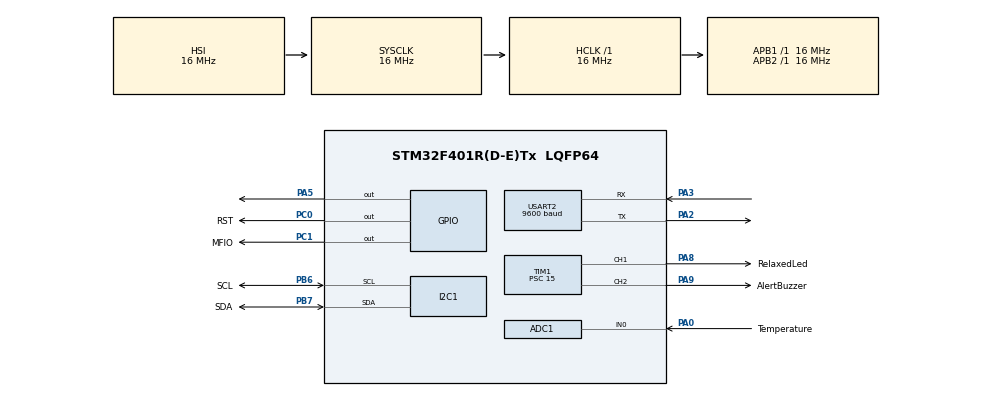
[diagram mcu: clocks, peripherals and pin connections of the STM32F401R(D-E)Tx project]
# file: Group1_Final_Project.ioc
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ADC1.Channel-0\#ChannelRegularConversion=ADC_CHANNEL_0
ADC1.ContinuousConvMode=ENABLE
ADC1.EOCSelection=ADC_EOC_SEQ_CONV
ADC1.NbrOfConversion=1
ADC1.NbrOfConversionFlag=1
ADC1.Rank-0\#ChannelRegularConversion=1
ADC1.SamplingTime-0\#ChannelRegularConversion=ADC_SAMPLETIME_3CYCLES
ADC1.master=1
Mcu.Family=STM32F4
Mcu.Name=STM32F401R(D-E)Tx
Mcu.Package=LQFP64
NVIC.PriorityGroup=NVIC_PRIORITYGROUP_4
NVIC.TIM1_TRG_COM_TIM11_IRQn=true\:0\:0\:false\:false\:true\:true\:true\:true
NVIC.TIM1_UP_TIM10_IRQn=true\:0\:0\:false\:false\:true\:true\:true\:true
NVIC.USART2_IRQn=true\:1\:0\:true\:false\:true\:true\:true\:true
PA0-WKUP.GPIO_Label=Temperature
PA0-WKUP.Signal=ADCx_IN0
PA2.Mode=Asynchronous
PA2.Signal=USART2_TX
PA3.Mode=Asynchronous
PA3.Signal=USART2_RX
PA5.Signal=GPIO_Output
PA8.GPIO_Label=RelaxedLed
PA8.Signal=S_TIM1_CH1
PA9.GPIO_Label=AlertBuzzer
PA9.Signal=S_TIM1_CH2
PB6.GPIO_Label=SCL
PB6.Mode=I2C
PB6.Signal=I2C1_SCL
PB7.GPIO_Label=SDA
PB7.Mode=I2C
PB7.Signal=I2C1_SDA
PC0.GPIO_Label=RST
PC0.Signal=GPIO_Output
PC1.GPIO_Label=MFIO
PC1.Signal=GPIO_Output
ProjectManager.HeapSize=0x200
ProjectManager.StackSize=0x400
ProjectManager.TargetToolchain=STM32CubeIDE
RCC.48MHZClocksFreq_Value=48000000
RCC.AHBFreq_Value=16000000
RCC.APB1Freq_Value=16000000
RCC.APB1TimFreq_Value=16000000
RCC.APB2Freq_Value=16000000
RCC.APB2TimFreq_Value=16000000
RCC.CortexFreq_Value=16000000
RCC.HCLKFreq_Value=16000000
RCC.HSE_VALUE=8000000
RCC.HSI_VALUE=16000000
RCC.LSE_VALUE=32768
RCC.PLLN=336
RCC.PLLP=RCC_PLLP_DIV4
RCC.PLLQ=7
RCC.SYSCLKFreq_VALUE=16000000
RCC.VCOOutputFreq_Value=336000000
SH.ADCx_IN0.0=ADC1_IN0,IN0
SH.S_TIM1_CH1.0=TIM1_CH1,PWM Generation1 CH1
SH.S_TIM1_CH2.0=TIM1_CH2,PWM Generation2 CH2
TIM1.Channel-PWM\ Generation1\ CH1=TIM_CHANNEL_1
TIM1.Channel-PWM\ Generation2\ CH2=TIM_CHANNEL_2
TIM1.Period=4999
TIM1.Prescaler=15
TIM10.Period=9999
TIM10.Prescaler=1599
TIM11.Period=7999
TIM11.Prescaler=1
USART2.BaudRate=9600
USART2.VirtualMode=VM_ASYNC
VP_TIM10_VS_ClockSourceINT.Mode=Enable_Timer
VP_TIM11_VS_ClockSourceINT.Mode=Enable_Timer
board=NUCLEO-F401RE

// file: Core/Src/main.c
/* USER CODE BEGIN Header */
/**
 ******************************************************************************
 * @file           : main.c
 * @brief          : Main program body
 ******************************************************************************
 * @attention
 *
 * Copyright (c) 2023 STMicroelectronics.
 * All rights reserved.
 *
 * This software is licensed under terms that can be found in the LICENSE file
 * in the root directory of this software component.
 * If no LICENSE file comes with this software, it is provided AS-IS.
 *
 ******************************************************************************
 */
/* USER CODE END Header */
#include "main.h"
#include "adc.h"
#include "i2c.h"
#include "tim.h"
#include "usart.h"
#include "gpio.h"

/* USER CODE BEGIN Includes */
#include "string.h"
#include "KY028.h"
#include "action.h"
#include "MAX32664.h"
#include "ssd1306.h"
#include "ds1307rtc.h"
#include "stdio.h"
/* USER CODE END Includes */

/* USER CODE BEGIN PTD */

/*
 * This function return the Pointer to the Flag structure.
 * This function create a static pointer only once.
 */
Flag* getFlag(void){
	static Flag flag;
	return &flag;
}

/*
 * This function return the Pointer to the Measure structure.
 * This function create a static pointer only once.
 */
Measure* getMeasure(void){
	static Measure measure;
	return &measure;
}

/*
 * This function return the Pointer to the Disease structure.
 * This function create a static pointer only once.
 */
Disease* getDisease(void){
	static Disease diseases;
	return &diseases;
}

/*
 * Flag init function
 */
void FLAG_Init(void){
	Flag* flags = getFlag();
	flags->highHeartRateFlag = 0;
	flags->highTemperatureFlag = 0;
	flags->lowOxygenFlag = 0;
	flags->dangerShowing = 0;
	flags->inhalation = 0;
	flags->exhalation = 0;
}

void DISEASE_Init(void){
	Disease* diseases = getDisease();
	diseases->arrhythmia = false;
	diseases->covid = false;
	diseases->fever = false;
	diseases->highFever = false;
	diseases->highestFever = false;
	diseases->hypoxemia = false;
	diseases->tachycardia = false;
}

/*
 * Measure init function
 */
void MEASURE_Init(void){
	Measure* measure = getMeasure();
	measure->averageValueHeartRate = 0;
	measure->averageValueOxygen = 0;
	measure->averageValueTemp = 0;
	measure->badValueHeartRate = 0;
	measure->badValueOxygen = 0;
	measure->badValueTemp = 0;
	measure->countTot = 0;
	measure->countDangerShowing = 0;
	measure->goodHeartRate = 0;
	measure->goodOxygen = 0;
	measure->goodTemp = 0;
	measure->ledCounter = 0;
	measure->repetition = 0;
	measure->sumHeartRate = 0;
	measure->sumOxygen = 0;
	measure->sumTemp = 0;
}

/*
 * Reset temporary values of the Measure structure
 */
void resetValue(void){
	Measure* measure = getMeasure();
	measure->sumHeartRate = 0;
	measure->sumOxygen = 0;
	measure->sumTemp = 0;
	measure->goodHeartRate = 0;
	measure->goodOxygen = 0;
	measure->goodTemp = 0;
}

/*
 * Reset average values of the Measure structure
 */
void resetAvgValue(void){
	Measure* measure = getMeasure();
	measure->averageValueHeartRate = 0;
	measure->averageValueOxygen = 0;
	measure->averageValueTemp = 0;
}

/* USER CODE END PTD */

/* USER CODE BEGIN PM */
//
/* USER CODE END PM */

void SystemClock_Config(void);

int main(void)
{

  /* MCU Configuration--------------------------------------------------------*/

  /* Reset of all peripherals, Initializes the Flash interface and the Systick. */
  HAL_Init();

  /* Configure the system clock */
  SystemClock_Config();

  /* Initialize all configured peripherals */
  MX_GPIO_Init();
  MX_I2C1_Init();
  MX_TIM1_Init();
  MX_USART2_UART_Init();
  MX_ADC1_Init();
  MX_TIM10_Init();
  MX_TIM11_Init();
  /* USER CODE BEGIN 2 */

  // INIZIO

  // Init and Active the Oled_SSD1306
  ssd1306_Init();
  showWelcome();

  HAL_TIM_Base_Start_IT(&htim10);  	// Inizializzazione TIM BASE 10
  HAL_ADC_Start(&hadc1);			// Inizializzazione ADC

  // Init MAX32664
  MAX32664* max = getSensor();

  char mess[] = "PULSE !OK\n\r";
  char mess2[] = "PULSE OK\n\r";

  HAL_UART_Transmit(&huart2, mess, strlen(mess), HAL_MAX_DELAY);

  if(begin(max, &hi2c1, GPIOC, GPIOC, GPIO_PIN_0, GPIO_PIN_1) != OK || config_sensor(max, MODE_ONE) != OK){
	  HAL_GPIO_WritePin(GPIOA, GPIO_PIN_5, 0);
	  HAL_UART_Transmit(&huart2, mess, strlen(mess), HAL_MAX_DELAY);
  }
  HAL_GPIO_WritePin(GPIOA, GPIO_PIN_5, 1);
  HAL_UART_Transmit(&huart2, mess2, strlen(mess2), HAL_MAX_DELAY);

  //Init Measure, Flag and Disease Structures
  FLAG_Init();
  MEASURE_Init();
  DISEASE_Init();

  // Init and Start DS1307RTC
  ds1307rtc_init();
  ds1307rtc_start();

  // Define the ADC conversion in PollingMode
  HAL_ADC_PollForConversion(&hadc1, HAL_MAX_DELAY);

  /* USER CODE END 2 */

  /* Infinite loop */
	while (1)
	{

	}
}

void SystemClock_Config(void)
{
  RCC_OscInitTypeDef RCC_OscInitStruct = {0};
  RCC_ClkInitTypeDef RCC_ClkInitStruct = {0};

  /** Configure the main internal regulator output voltage
  */
  __HAL_RCC_PWR_CLK_ENABLE();
  __HAL_PWR_VOLTAGESCALING_CONFIG(PWR_REGULATOR_VOLTAGE_SCALE2);

  /** Initializes the RCC Oscillators according to the specified parameters
  * in the RCC_OscInitTypeDef structure.
  */
  RCC_OscInitStruct.OscillatorType = RCC_OSCILLATORTYPE_HSI;
  RCC_OscInitStruct.HSIState = RCC_HSI_ON;
  RCC_OscInitStruct.HSICalibrationValue = RCC_HSICALIBRATION_DEFAULT;
  RCC_OscInitStruct.PLL.PLLState = RCC_PLL_NONE;
  if (HAL_RCC_OscConfig(&RCC_OscInitStruct) != HAL_OK)
  {
    Error_Handler();
  }

  /** Initializes the CPU, AHB and APB buses clocks
  */
  RCC_ClkInitStruct.ClockType = RCC_CLOCKTYPE_HCLK|RCC_CLOCKTYPE_SYSCLK
                              |RCC_CLOCKTYPE_PCLK1|RCC_CLOCKTYPE_PCLK2;
  RCC_ClkInitStruct.SYSCLKSource = RCC_SYSCLKSOURCE_HSI;
  RCC_ClkInitStruct.AHBCLKDivider = RCC_SYSCLK_DIV1;
  RCC_ClkInitStruct.APB1CLKDivider = RCC_HCLK_DIV1;
  RCC_ClkInitStruct.APB2CLKDivider = RCC_HCLK_DIV1;

  if (HAL_RCC_ClockConfig(&RCC_ClkInitStruct, FLASH_LATENCY_0) != HAL_OK)
  {
    Error_Handler();
  }
}

/* USER CODE BEGIN 4 */
/*
 * Callback of the timer.
 * In this callback I check that my interrupt is generated by the TIM10
 * I take into account each measure done for the complete measure.
 */

void HAL_TIM_PeriodElapsedCallback(TIM_HandleTypeDef *htim){

	// Basic Timer 10 is the timer that allow the new measurement
	if (htim->Instance == TIM10){

		Flag* flags = getFlag();
		Measure* measure = getMeasure();
		Disease* diseases = getDisease();
		MAX32664* max = getSensor();
		DateTime datetime;

		float temperature;
		uint32_t previousValueTemp, previousValueHeartRate, previousValueOxygen;

		char valueTmp[20], valueHeart[20], valueOxygen[20];

		measure->countTot += 1;

		// Put the value of temperature in this variable, from the function 'getTemperature'
		temperature = getTemperature();
		// I check that the value of temperature is between a min value and a max value
		// to don't take into account the out-of-bounds value for the mean.
		if ((temperature< highConfTemp) && (temperature >lowConfTemp)){
			measure->sumTemp += temperature;
			measure->goodTemp++;
		}

		// Read value of MAX32664
		read_sensor(max);

		uint32_t heartRate = max->heart_rate;
		uint32_t oxygen = max->oxygen;
		uint32_t confidence_heart_rate = max->confidence_heart_rate;

		// Check that the value of heart rate is acceptable
		if ((heartRate < highConfHeartRate) && (heartRate > lowConfHeartRate) && (confidence_heart_rate > acceptableConfidenceHeartRate)){
			measure->sumHeartRate += heartRate;
			measure->goodHeartRate++;
		}
		// Check that the value of oxygen is acceptable
		if ((oxygen < highConfOxygen) && (oxygen > lowConfOxygen)){
			measure->sumOxygen += oxygen;
			measure->goodOxygen++;
		}

		// SEE THE VALUE IN REAL TIME

		sprintf(valueTmp, "Temperatura: %.2f\n\r", temperature);
		HAL_UART_Transmit(&huart2,valueTmp , strlen(valueTmp), HAL_MAX_DELAY);

		sprintf(valueHeart, "HeartRate: %d\n\r", heartRate);
		HAL_UART_Transmit(&huart2,valueHeart , strlen(valueHeart), HAL_MAX_DELAY);

		sprintf(valueOxygen, "Oxygen: %d\n\r", oxygen);
		HAL_UART_Transmit(&huart2,valueOxygen , strlen(valueOxygen), HAL_MAX_DELAY);

		sprintf(valueTmp, "COUNT: %d\r\n", measure->countTot);
		HAL_UART_Transmit(&huart2, valueTmp, strlen(valueTmp), HAL_MAX_DELAY);

		// I show the measure on the screen only when I reach the 'goodMeasureTime'
		if (measure->countTot >= goodMeasureTime){

			char str[] = "Nuova misura disponibile\r\n";
			HAL_UART_Transmit(&huart2, str, strlen(str), HAL_MAX_DELAY);

			// Check that the measures of temperature are enough
			if (measure->goodTemp >= goodNumberMeasure){

				measure->badValueTemp = 0;

				previousValueTemp = measure->averageValueTemp;

				computeAverageTemp();

				// If my average value is over the threshold, set the flag = true
				flags->highTemperatureFlag = (measure->averageValueTemp < highTemperature) ? false : true;

			}else{
				// If the measures is not enough, increment the counter for error measure and reset the average value
				measure->badValueTemp++;
				measure->averageValueTemp = 0;     // In this way on my screen I will show that the measure is wrong
				flags->highTemperatureFlag = false;
			}

			// Check that the measures of heart rate are enough
			if (measure->goodHeartRate >= goodNumberMeasure){

				measure->badValueHeartRate = 0;

				previousValueHeartRate = measure->averageValueHeartRate;

				computeAverageHeartRate();

				// If my average value is over the threshold, set the flag = true
				flags->highHeartRateFlag = (measure->averageValueHeartRate < highHeartRate) ? false : true;

			}else{
				// If the measures is not enough, increment the counter for error measure and reset the average value
				measure->badValueHeartRate++;
				measure->averageValueHeartRate = 0;			// In this way on my screen I will show that the measure is wrong
				flags->highHeartRateFlag = false;
			}

			// Check that the measures of oxygen are enough
			if (measure->goodOxygen >= goodNumberMeasure){

				measure->badValueOxygen = 0;

				previousValueOxygen = measure->averageValueOxygen;

				computeAverageOxygen();

				// If my average value is over the threshold, set the flag = true
				flags->lowOxygenFlag = (measure->averageValueOxygen < lowOxygen) ? true : false;

			}else{
				// If the measures is not enough, increment the counter for error measure and reset the average value
				measure->badValueOxygen++;
				measure->averageValueOxygen = 0;		// In this way on my screen I will show that the measure is wrong
				flags->lowOxygenFlag = false;
			}

			resetValue();		// This line is important because for each measurement we initialize the value to compute the averages
		}

		// I check that the count: 'badValue' for all measure (temperature, heart_rate and oxygen) is enough to show the error finger position
		if (((measure->badValueHeartRate >= countFail) || (measure->badValueOxygen >= countFail)) && (measure->countTot >= goodMeasureTime)){
			showReplaceFinger();
			resetAvgValue();		// This line is important because I must reset the avg value, otherwise I would still have these value
			measure->countTot = 0;	// This line is important because I must set to 0 the counter else if I'm in this state,
			//I will have a loop because compute always the avg values but I have only one value.

		}else if(measure->countTot >= goodMeasureTime){
			// If the values are good I can show the averages value and I must check which flags are active
			measure->countTot = 0;
			// 0-0-0
			if (!flags->highTemperatureFlag && !flags->highHeartRateFlag && !flags->lowOxygenFlag){
				// TUTTO BENE
				showTerminalTime(datetime);
				showMeasures();
			}
			// 0-0-1
			if (!flags->highTemperatureFlag && !flags->highHeartRateFlag && flags->lowOxygenFlag){
				// IPOSSIEMIA
				// check that isn't a first time
				if(previousValueOxygen < lowOxygen && previousValueOxygen > lowConfOxygen){ // if isn't a first time, I don't show the danger screen
					showTerminalTime(datetime);
					showMeasures();
				}else{
					// show the danger screen (IPOSSIEMIA)
					flags->dangerShowing = true;
					diseases->hypoxemia = true;
					showDangerHypoxemia();
					HAL_TIM_Base_Stop_IT(&htim10);
					HAL_TIM_Base_Start_IT(&htim11);
				}

			}

			// 0-1-0
			if (!flags->highTemperatureFlag && flags->highHeartRateFlag && !flags->lowOxygenFlag){
				// TACHICARDIA
				// check that isn't a first time
				if(previousValueHeartRate > highHeartRate){ // if isn't a first time, I don't show the danger screen
					showTerminalTime(datetime);
					showMeasures();
				}else{
					// show the danger screen (TACHICARDIA)
					flags->dangerShowing = true;
					diseases->tachycardia = true;
					showDangerTachycardia();
					HAL_TIM_Base_Stop_IT(&htim10);
					HAL_TIM_Base_Start_IT(&htim11);
				}
			}

			// 0-1-1
			if (!flags->highTemperatureFlag && flags->highHeartRateFlag && flags->lowOxygenFlag){
				// ARITMIA
				// check that isn't a first time
				if ((previousValueHeartRate > highHeartRate) && (previousValueOxygen < lowOxygen)){  // if isn't a first time, I don't show the danger screen
					showTerminalTime(datetime);
					showMeasures();

				}
				else{
					// show the danger screen (ARITMIA)
					flags->dangerShowing = true;
					diseases->arrhythmia = true;
					showDangerArrhythmia();
					HAL_TIM_Base_Stop_IT(&htim10);
					HAL_TIM_Base_Start_IT(&htim11);
				}
			}

			// 1-0-0
			if (flags->highTemperatureFlag && !flags->highHeartRateFlag && !flags->lowOxygenFlag){
				// FEBBRE
				// check that isn't a first time
				if(previousValueTemp > highTemperature){   // if isn't a first time, I don't show the danger screen
					showTerminalTime(datetime);
					showMeasures();

				}else{
					// show the danger screen (FEBBRE)
					flags->dangerShowing = true;
					diseases->fever = true;
					showDangerFever();
					HAL_TIM_Base_Stop_IT(&htim10);
					HAL_TIM_Base_Start_IT(&htim11);
				}
			}

			// 1-0-1
			if (flags->highTemperatureFlag && !flags->highHeartRateFlag && flags->lowOxygenFlag){
				// COVID
				// check that isn't a first time
				if ((previousValueTemp > highTemperature) && (previousValueOxygen < lowOxygen)){	// if isn't a first time, I don't show the danger screen
					showTerminalTime(datetime);
					showMeasures();

				}
				else{
					// show the danger screen (COVID)
					flags->dangerShowing = true;
					diseases->covid = true;
					showDangerCovid();
					HAL_TIM_Base_Stop_IT(&htim10);
					HAL_TIM_Base_Start_IT(&htim11);
				}

			}
			// 1-1-0
			if (flags->highTemperatureFlag && flags->highHeartRateFlag && !flags->lowOxygenFlag){
				// FEBBRE ALTA
				// check that isn't a first time
				if ((previousValueTemp > highTemperature) && (previousValueHeartRate > highHeartRate)){		// if isn't a first time, I don't show the danger screen
					showTerminalTime(datetime);
					showMeasures();

				}
				else{
					// show the danger screen (FEBBRE ALTA)
					flags->dangerShowing = true;
					diseases->highFever = true;
					showDangerHighFever();
					HAL_TIM_Base_Stop_IT(&htim10);
					HAL_TIM_Base_Start_IT(&htim11);
				}

			}
			// 1-1-1
			if (flags->highTemperatureFlag && flags->highHeartRateFlag && flags->lowOxygenFlag){
				// FEBBRE MOLTO ALTA
				// check that isn't a first time
				if ((previousValueTemp > highTemperature) && (previousValueHeartRate > highHeartRate) && (previousValueOxygen < lowOxygen)){	// if isn't a first time, I don't show the danger screen
					showTerminalTime(datetime);
					showMeasures();

				}
				else{
					// show the danger screen (FEBBRE MOLTO ALTA)
					flags->dangerShowing = true;
					diseases->highestFever = true;
					showDangerHighestFever();
					HAL_TIM_Base_Stop_IT(&htim10);
					HAL_TIM_Base_Start_IT(&htim11);
				}
			}

		}

	}

	// TIM11  -> 1ms
	if (htim->Instance == TIM11){

		// in 5 secondi devo respirare, poi aspetto 1 secondo ed infine altri 5 secondi espiro, ed aspetto 1 secondo per riiniziare. Il tutto viene fatto 5 volte.
		// PWM del TIM1 ha un period di 1000. Quindi devo raggiungere un pulse di 1000 alla fine dei 5 secondi.
		// Aumento di 0.2 il pulse ogni millisecondo.

		Measure* measures = getMeasure();
		Flag* flags = getFlag();
		Disease* diseases = getDisease();

		HAL_TIM_OC_Start(&htim1, TIM_CHANNEL_2);  // START PWM canale 2 BUZZER

		if (flags->dangerShowing){
			if (measures->countDangerShowing <= showDangerDuration){
				if (measures->countDangerShowing == (showDangerDuration/2))
					showWhichAction();

				__HAL_TIM_SET_COMPARE(&htim1, TIM_CHANNEL_2, buzzerMelody);
				measures->countDangerShowing++;

			}else{
				flags->dangerShowing = false;
				measures->countDangerShowing = 0;
				__HAL_TIM_SET_COMPARE(&htim1, TIM_CHANNEL_2, measures->countDangerShowing);
				HAL_TIM_OC_Stop(&htim1, TIM_CHANNEL_2);  // STOP PWM canale 2 BUZZER
				HAL_TIM_OC_Start(&htim1, TIM_CHANNEL_1);  // START PWM canale 1
			}
		}else if(diseases->arrhythmia && !flags->dangerShowing && (measures->repetition <= repetitionDuration)){

			// mostra azione per aritmia
			if (measures->repetition == 0)
				showActionArrhythmia();
			measures->repetition++;

		}else if(diseases->covid && !flags->dangerShowing && (measures->repetition <= repetitionDuration)){

			// mostra azione per covid
			if (measures->repetition == 0)
				showActionCovid();
			measures->repetition++;

		}else if(diseases->fever && !flags->dangerShowing && (measures->repetition <= repetitionDuration)){

			// mostra azione per fever
			if (measures->repetition == 0)
				showActionFever();
			measures->repetition++;

		}else if(diseases->highFever && !flags->dangerShowing && (measures->repetition <= repetitionDuration)){

			// mostra azione per high fever
			if (measures->repetition == 0)
				showActionHighFever();
			measures->repetition++;

		}else if(diseases->highestFever && !flags->dangerShowing && (measures->repetition <= repetitionDuration)){

			// mostra azione per highest fever
			if (measures->repetition == 0)
				showActionHighestFever();
			measures->repetition++;

		}else if(diseases->hypoxemia && !flags->dangerShowing && (measures->repetition <= repetitionDuration)){

			// mostra azione per ipossiemia
			if (measures->repetition == 0)
				showActionHypoxemia();
			measures->repetition++;

		}else if (diseases->tachycardia && !flags->dangerShowing && (measures->repetition <= repetitionBreathing)){

			showActionTachycardia();

		}else{
			showMeasures();
			measures->repetition = 0;
			DISEASE_Init();
			HAL_TIM_Base_Stop_IT(&htim11);
			HAL_TIM_Base_Start_IT(&htim10);
			HAL_TIM_OC_Stop(&htim1, TIM_CHANNEL_1);  // STOP PWM canale 1
		}

	}

}

/* USER CODE END 4 */

void Error_Handler(void)
{
	__disable_irq();
	while (1)
	{
	}
}
